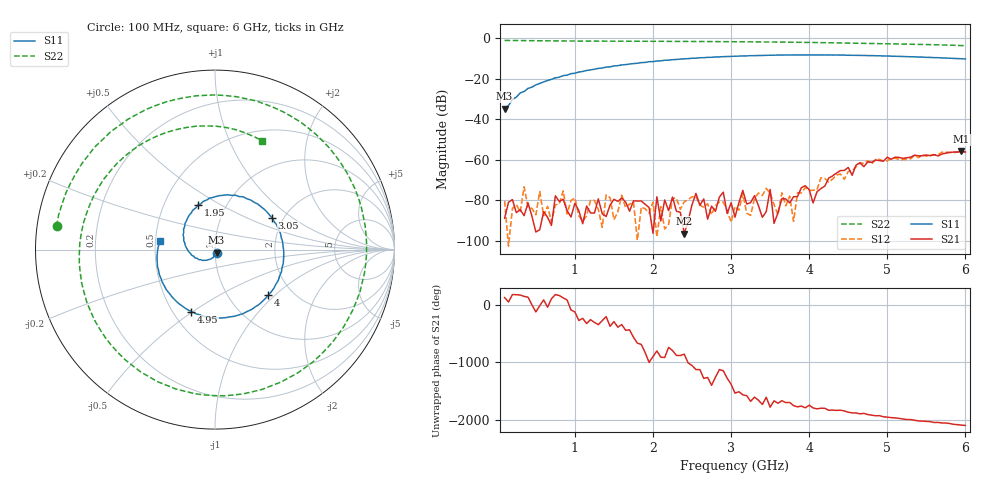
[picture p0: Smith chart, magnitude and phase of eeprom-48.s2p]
! Created with skrf 2.0.0 (http://scikit-rf.org).
# Hz S RI R 50.0
!freq ReS11 ImS11 ReS21 ImS21 ReS12 ImS12 ReS22 ImS22
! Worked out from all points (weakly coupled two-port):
!   119 points, 100 MHz to 6 GHz, reference 50 ohm
!   highest |S21| = -55.92 dB at 5.95 GHz (marker M1); lowest = -96.5 dB at 2.4 GHz (marker M2)
!   lowest |S11| = -34.7 dB at 100 MHz (marker M3), VSWR 1.04, Z = 50.9 - j1.66 ohm
!   |S11| at or under -10 dB: start of sweep to 2.447 GHz; 5.923 GHz to end of sweep
!   |S22| runs from -3.6 to -1.0 dB; largest |S21 - S12| = 0.00032
!   S11 on the Smith chart (normalised r, x): 100 MHz: 1.02, -0.03; 1.95 GHz: 0.74, +0.39; 3.05 GHz: 1.75, +0.71; 4 GHz: 1.51, -0.91; 4.95 GHz: 0.62, -0.49; 6 GHz: 0.53, +0.05
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1e8  0.0087 -0.0163  -2.38e-05 2.66e-05  4.92e-05 8.12e-05  -0.8826 0.1302
3e8  -0.0098 -0.0438  -5.79e-05 4.52e-06  -8.83e-06 5.05e-05  -0.8056 0.3684
3.5e8  -0.0152 -0.0463  -3.65e-05 1.92e-05  9.88e-05 -0.00019  -0.7754 0.4239
4e8  -0.0245 -0.053  -6.32e-05 5.75e-05  5.88e-05 -3.22e-05  -0.7442 0.4754
8.5e8  -0.1111 -0.0461  -6.1e-05 8.55e-05  -0.000123 -0.000116  -0.3285 0.8034
1.1e9  -0.1526 -0.00197  -1.62e-05 2.04e-05  1.18e-05 2.78e-05  -0.0488 0.8598
1.95e9  -0.0952 0.248  1.28e-05 6.44e-05  -4.77e-05 2.48e-08  0.7317 0.434
2.1e9  -0.047 0.2758  -3e-05 5.36e-06  6.61e-05 -1.95e-05  0.7985 0.2885
2.4e9  0.0704 0.3056  -1.09e-05 -1.01e-05  7.66e-05 -4.88e-05  0.8442 -0.0256
3.05e9  0.318 0.1772  -4.89e-06 -3.77e-05  -5.55e-05 -4.17e-05  0.5452 -0.6259
3.15e9  0.3444 0.1369  -0.000104 -0.00014  -0.000144 2.07e-06  0.4594 -0.6881
3.2e9  0.3528 0.1118  -6.27e-05 -4.97e-05  3.52e-05 -3.26e-05  0.4115 -0.7141
3.45e9  0.3825 -0.00353  -5.1e-05 -9.52e-06  0.000189 5.18e-05  0.1595 -0.8033
3.5e9  0.3836 -0.0263  0.000176 5.53e-05  -0.00012 8.62e-05  0.1069 -0.8096
3.75e9  0.3596 -0.148  -1.47e-05 8.45e-05  6.47e-05 0.000108  -0.1655 -0.79
4e9  0.2973 -0.255  0.000114 0.000143  0.000167 4.87e-05  -0.4147 -0.681
4.05e9  0.2817 -0.2718  8.51e-05 6.49e-06  0.000168 4.95e-05  -0.4587 -0.6471
4.4e9  0.133 -0.3638  0.00044 -0.000311  0.000252 -0.000361  -0.6937 -0.343
4.95e9  -0.1317 -0.3449  -0.000798 -0.000461  -0.00071 -0.000605  -0.6978 0.2493
5.05e9  -0.1731 -0.3212  -0.000995 -0.000268  -0.00102 -0.00036  -0.648 0.3478
5.95e9  -0.3129 0.0284  0.0007 0.00144  0.000657 0.0014  0.2164 0.63
6e9  -0.3084 0.0469  0.000818 0.00132  0.00094 0.00127  0.262 0.6075
